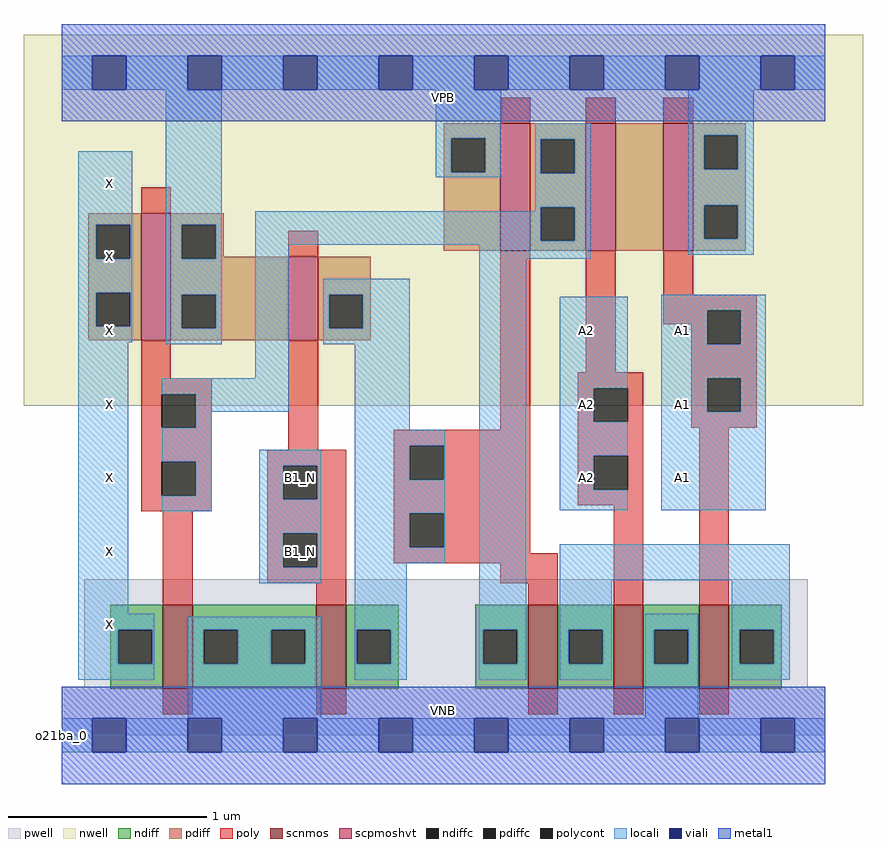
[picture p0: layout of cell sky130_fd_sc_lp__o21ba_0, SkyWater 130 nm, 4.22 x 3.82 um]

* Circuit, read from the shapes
.subckt sky130_fd_sc_lp__o21ba_0 A1 A2 B1_N VGND VNB VPB VPWR X
XM1 VGND n1 X VNB sky130_fd_pr__nfet_01v8 w=0.42 l=0.15
XM2 n2 B1_N VGND VNB sky130_fd_pr__nfet_01v8 w=0.42 l=0.15
XM3 n3 n2 n1 VNB sky130_fd_pr__nfet_01v8 w=0.42 l=0.15
XM4 VGND A2 n3 VNB sky130_fd_pr__nfet_01v8 w=0.42 l=0.15
XM5 n3 A1 VGND VNB sky130_fd_pr__nfet_01v8 w=0.42 l=0.15
XM6 VPWR n1 X VPB sky130_fd_pr__pfet_01v8_hvt w=0.64 l=0.15
XM7 n2 B1_N VPWR VPB sky130_fd_pr__pfet_01v8_hvt w=0.42 l=0.15
XM8 n1 n2 VPWR VPB sky130_fd_pr__pfet_01v8_hvt w=0.64 l=0.15
XM9 n4 A2 n1 VPB sky130_fd_pr__pfet_01v8_hvt w=0.64 l=0.15
XM10 VPWR A1 n4 VPB sky130_fd_pr__pfet_01v8_hvt w=0.64 l=0.15
.ends

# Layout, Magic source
magic
tech sky130A
magscale 1 2
<< nwell >>
rect -38 331 806 704
<< pwell >>
rect 23 49 750 157
rect 0 0 768 49
<< scnmos >>
rect 102 47 132 131
rect 256 47 286 131
rect 469 47 499 131
rect 555 47 585 131
rect 641 47 671 131
<< scpmoshvt >>
rect 80 397 110 525
rect 441 487 471 615
rect 527 487 557 615
rect 605 487 635 615
rect 228 397 258 481
<< ndiff >>
rect 49 106 102 131
rect 49 72 57 106
rect 91 72 102 106
rect 49 47 102 72
rect 132 106 256 131
rect 132 72 143 106
rect 177 72 211 106
rect 245 72 256 106
rect 132 47 256 72
rect 286 106 339 131
rect 286 72 297 106
rect 331 72 339 106
rect 286 47 339 72
rect 416 106 469 131
rect 416 72 424 106
rect 458 72 469 106
rect 416 47 469 72
rect 499 106 555 131
rect 499 72 510 106
rect 544 72 555 106
rect 499 47 555 72
rect 585 106 641 131
rect 585 72 596 106
rect 630 72 641 106
rect 585 47 641 72
rect 671 106 724 131
rect 671 72 682 106
rect 716 72 724 106
rect 671 47 724 72
<< pdiff >>
rect 384 600 441 615
rect 384 566 392 600
rect 426 566 441 600
rect 27 513 80 525
rect 27 479 35 513
rect 69 479 80 513
rect 27 445 80 479
rect 27 411 35 445
rect 69 411 80 445
rect 27 397 80 411
rect 110 513 163 525
rect 110 479 121 513
rect 155 481 163 513
rect 384 487 441 566
rect 471 599 527 615
rect 471 565 482 599
rect 516 565 527 599
rect 471 531 527 565
rect 471 497 482 531
rect 516 497 527 531
rect 471 487 527 497
rect 557 487 605 615
rect 635 603 688 615
rect 635 569 646 603
rect 680 569 688 603
rect 635 533 688 569
rect 635 499 646 533
rect 680 499 688 533
rect 635 487 688 499
rect 155 479 228 481
rect 110 443 228 479
rect 110 409 121 443
rect 155 409 228 443
rect 110 397 228 409
rect 258 443 311 481
rect 258 409 269 443
rect 303 409 311 443
rect 258 397 311 409
<< ndiffc >>
rect 57 72 91 106
rect 143 72 177 106
rect 211 72 245 106
rect 297 72 331 106
rect 424 72 458 106
rect 510 72 544 106
rect 596 72 630 106
rect 682 72 716 106
<< pdiffc >>
rect 392 566 426 600
rect 35 479 69 513
rect 35 411 69 445
rect 121 479 155 513
rect 482 565 516 599
rect 482 497 516 531
rect 646 569 680 603
rect 646 499 680 533
rect 121 409 155 443
rect 269 409 303 443
<< poly >>
rect 441 615 471 641
rect 527 615 557 641
rect 605 615 635 641
rect 80 525 110 551
rect 228 481 258 507
rect 80 359 110 397
rect 80 343 151 359
rect 80 309 101 343
rect 135 309 151 343
rect 80 275 151 309
rect 228 287 258 397
rect 441 307 471 487
rect 527 365 557 487
rect 605 443 635 487
rect 605 427 699 443
rect 605 413 649 427
rect 633 393 649 413
rect 683 393 699 427
rect 334 291 471 307
rect 80 241 101 275
rect 135 241 151 275
rect 80 225 151 241
rect 207 271 286 287
rect 207 237 223 271
rect 257 237 286 271
rect 102 131 132 225
rect 207 203 286 237
rect 207 169 223 203
rect 257 169 286 203
rect 334 257 350 291
rect 384 257 471 291
rect 334 223 471 257
rect 519 349 585 365
rect 519 315 535 349
rect 569 315 585 349
rect 519 281 585 315
rect 633 359 699 393
rect 633 325 649 359
rect 683 325 699 359
rect 633 309 699 325
rect 519 247 535 281
rect 569 247 585 281
rect 519 231 585 247
rect 334 189 350 223
rect 384 189 471 223
rect 334 183 471 189
rect 334 173 499 183
rect 207 153 286 169
rect 441 153 499 173
rect 256 131 286 153
rect 469 131 499 153
rect 555 131 585 231
rect 641 131 671 309
rect 102 21 132 47
rect 256 21 286 47
rect 469 21 499 47
rect 555 21 585 47
rect 641 21 671 47
<< polycont >>
rect 101 309 135 343
rect 649 393 683 427
rect 101 241 135 275
rect 223 237 257 271
rect 223 169 257 203
rect 350 257 384 291
rect 535 315 569 349
rect 649 325 683 359
rect 535 247 569 281
rect 350 189 384 223
<< locali >>
rect 0 649 31 683
rect 65 649 127 683
rect 161 649 223 683
rect 257 649 319 683
rect 353 649 415 683
rect 449 649 511 683
rect 545 649 607 683
rect 641 649 703 683
rect 737 649 768 683
rect 17 513 71 587
rect 17 479 35 513
rect 69 479 71 513
rect 17 445 71 479
rect 17 411 35 445
rect 69 411 71 445
rect 17 395 71 411
rect 105 513 161 649
rect 376 600 442 649
rect 376 566 392 600
rect 426 566 442 600
rect 376 561 442 566
rect 476 599 532 615
rect 476 565 482 599
rect 516 565 532 599
rect 476 531 532 565
rect 476 527 482 531
rect 105 479 121 513
rect 155 479 161 513
rect 105 443 161 479
rect 105 409 121 443
rect 155 409 161 443
rect 17 122 67 395
rect 105 393 161 409
rect 195 497 482 527
rect 516 497 532 531
rect 195 493 532 497
rect 195 359 229 493
rect 420 479 532 493
rect 630 603 696 649
rect 630 569 646 603
rect 680 569 696 603
rect 630 533 696 569
rect 630 499 646 533
rect 680 499 696 533
rect 630 483 696 499
rect 263 443 350 459
rect 263 409 269 443
rect 303 409 350 443
rect 263 393 350 409
rect 101 343 229 359
rect 135 325 229 343
rect 135 309 151 325
rect 101 275 151 309
rect 295 307 350 393
rect 295 291 386 307
rect 135 241 151 275
rect 101 225 151 241
rect 199 271 261 287
rect 199 237 223 271
rect 257 237 261 271
rect 199 203 261 237
rect 199 169 223 203
rect 257 169 261 203
rect 199 153 261 169
rect 295 257 350 291
rect 384 257 386 291
rect 295 223 386 257
rect 295 189 350 223
rect 384 189 386 223
rect 295 173 386 189
rect 17 106 93 122
rect 17 72 57 106
rect 91 72 93 106
rect 17 56 93 72
rect 127 106 261 119
rect 127 72 143 106
rect 177 72 211 106
rect 245 72 261 106
rect 127 17 261 72
rect 295 106 347 173
rect 295 72 297 106
rect 331 72 347 106
rect 295 56 347 72
rect 420 106 467 479
rect 501 349 569 441
rect 501 315 535 349
rect 501 281 569 315
rect 501 247 535 281
rect 501 226 569 247
rect 603 427 708 443
rect 603 393 649 427
rect 683 393 708 427
rect 603 359 708 393
rect 603 325 649 359
rect 683 325 708 359
rect 603 226 708 325
rect 420 72 424 106
rect 458 72 467 106
rect 420 56 467 72
rect 501 156 732 192
rect 501 106 553 156
rect 501 72 510 106
rect 544 72 553 106
rect 501 56 553 72
rect 587 106 640 122
rect 587 72 596 106
rect 630 72 640 106
rect 587 17 640 72
rect 674 106 732 156
rect 674 72 682 106
rect 716 72 732 106
rect 674 56 732 72
rect 0 -17 31 17
rect 65 -17 127 17
rect 161 -17 223 17
rect 257 -17 319 17
rect 353 -17 415 17
rect 449 -17 511 17
rect 545 -17 607 17
rect 641 -17 703 17
rect 737 -17 768 17
<< viali >>
rect 31 649 65 683
rect 127 649 161 683
rect 223 649 257 683
rect 319 649 353 683
rect 415 649 449 683
rect 511 649 545 683
rect 607 649 641 683
rect 703 649 737 683
rect 31 -17 65 17
rect 127 -17 161 17
rect 223 -17 257 17
rect 319 -17 353 17
rect 415 -17 449 17
rect 511 -17 545 17
rect 607 -17 641 17
rect 703 -17 737 17
<< metal1 >>
rect 0 683 768 715
rect 0 649 31 683
rect 65 649 127 683
rect 161 649 223 683
rect 257 649 319 683
rect 353 649 415 683
rect 449 649 511 683
rect 545 649 607 683
rect 641 649 703 683
rect 737 649 768 683
rect 0 617 768 649
rect 0 17 768 49
rect 0 -17 31 17
rect 65 -17 127 17
rect 161 -17 223 17
rect 257 -17 319 17
rect 353 -17 415 17
rect 449 -17 511 17
rect 545 -17 607 17
rect 641 -17 703 17
rect 737 -17 768 17
rect 0 -49 768 -17
<< labels >>
flabel pwell s 0 0 768 49 0 FreeSans 200 0 0 0 VNB
port 5 nsew ground bidirectional
flabel nwell s 0 617 768 666 0 FreeSans 200 0 0 0 VPB
port 6 nsew power bidirectional
rlabel comment s 0 0 0 0 4 o21ba_0
flabel metal1 s 0 617 768 666 0 FreeSans 340 0 0 0 VPWR
port 7 nsew power bidirectional
flabel metal1 s 0 0 768 49 0 FreeSans 340 0 0 0 VGND
port 4 nsew ground bidirectional
flabel locali s 607 242 641 276 0 FreeSans 340 0 0 0 A1
port 1 nsew signal input
flabel locali s 607 316 641 350 0 FreeSans 340 0 0 0 A1
port 1 nsew signal input
flabel locali s 607 390 641 424 0 FreeSans 340 0 0 0 A1
port 1 nsew signal input
flabel locali s 511 242 545 276 0 FreeSans 340 0 0 0 A2
port 2 nsew signal input
flabel locali s 511 316 545 350 0 FreeSans 340 0 0 0 A2
port 2 nsew signal input
flabel locali s 511 390 545 424 0 FreeSans 340 0 0 0 A2
port 2 nsew signal input
flabel locali s 223 168 257 202 0 FreeSans 340 0 0 0 B1_N
port 3 nsew signal input
flabel locali s 223 242 257 276 0 FreeSans 340 0 0 0 B1_N
port 3 nsew signal input
flabel locali s 31 94 65 128 0 FreeSans 340 0 0 0 X
port 8 nsew signal output
flabel locali s 31 168 65 202 0 FreeSans 340 0 0 0 X
port 8 nsew signal output
flabel locali s 31 242 65 276 0 FreeSans 340 0 0 0 X
port 8 nsew signal output
flabel locali s 31 316 65 350 0 FreeSans 340 0 0 0 X
port 8 nsew signal output
flabel locali s 31 390 65 424 0 FreeSans 340 0 0 0 X
port 8 nsew signal output
flabel locali s 31 464 65 498 0 FreeSans 340 0 0 0 X
port 8 nsew signal output
flabel locali s 31 538 65 572 0 FreeSans 340 0 0 0 X
port 8 nsew signal output
<< properties >>
string LEFsite unit
string LEFclass CORE
string FIXED_BBOX 0 0 768 666
string GDS_FILE $PDKPATH/libs.ref/sky130_fd_sc_lp/gds/sky130_fd_sc_lp.gds
string LEFsymmetry X Y R90
string GDS_END 6518784
string GDS_START 6510780
<< end >>
